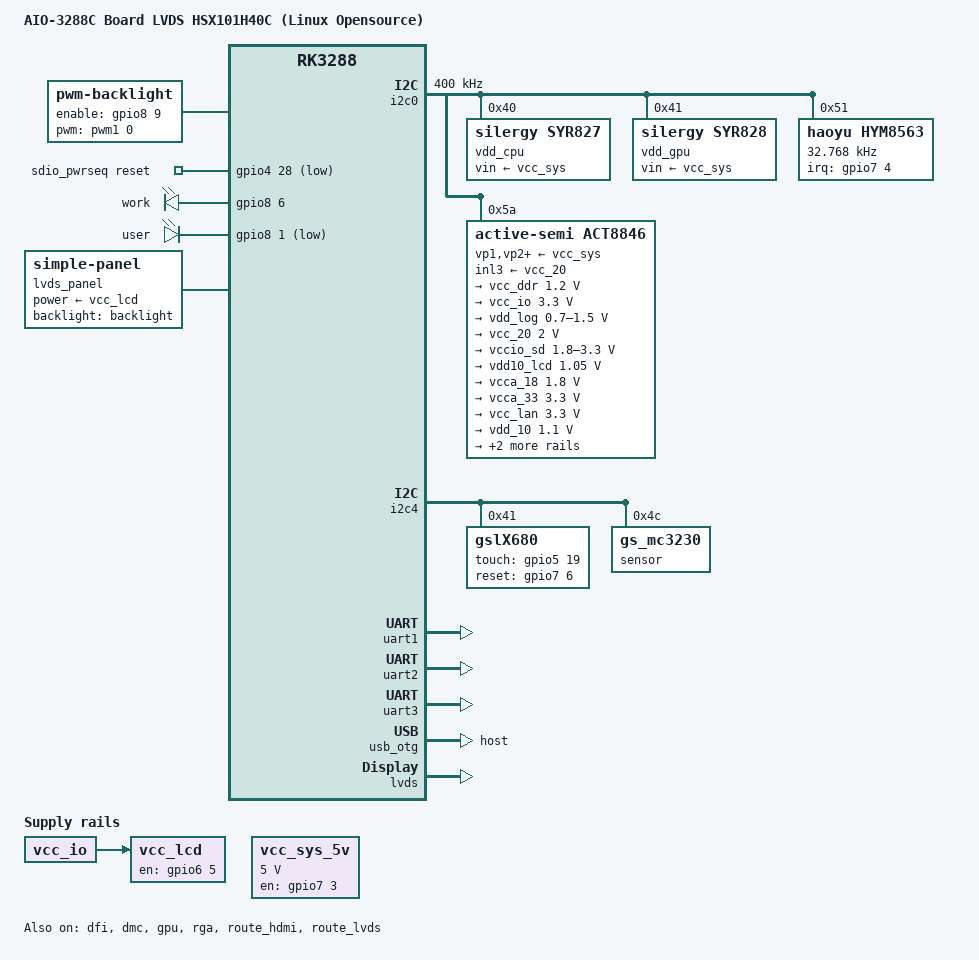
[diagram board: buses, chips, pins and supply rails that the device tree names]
/*
 * Copyright (c) 2015~2017 Fuzhou Rockchip Electronics Co., Ltd
 *
 * This file is dual-licensed: you can use it either under the terms
 * of the GPL or the X11 license, at your option. Note that this dual
 * licensing only applies to this file, and not this project as a
 * whole.
 *
 *  a) This file is free software; you can redistribute it and/or
 *     modify it under the terms of the GNU General Public License as
 *     published by the Free Software Foundation; either version 2 of the
 *     License, or (at your option) any later version.
 *
 *     This file is distributed in the hope that it will be useful,
 *     but WITHOUT ANY WARRANTY; without even the implied warranty of
 *     MERCHANTABILITY or FITNESS FOR A PARTICULAR PURPOSE.  See the
 *     GNU General Public License for more details.
 *
 * Or, alternatively,
 *
 *  b) Permission is hereby granted, free of charge, to any person
 *     obtaining a copy of this software and associated documentation
 *     files (the "Software"), to deal in the Software without
 *     restriction, including without limitation the rights to use,
 *     copy, modify, merge, publish, distribute, sublicense, and/or
 *     sell copies of the Software, and to permit persons to whom the
 *     Software is furnished to do so, subject to the following
 *     conditions:
 *
 *     The above copyright notice and this permission notice shall be
 *     included in all copies or substantial portions of the Software.
 *
 *     THE SOFTWARE IS PROVIDED "AS IS", WITHOUT WARRANTY OF ANY KIND,
 *     EXPRESS OR IMPLIED, INCLUDING BUT NOT LIMITED TO THE WARRANTIES
 *     OF MERCHANTABILITY, FITNESS FOR A PARTICULAR PURPOSE AND
 *     NONINFRINGEMENT. IN NO EVENT SHALL THE AUTHORS OR COPYRIGHT
 *     HOLDERS BE LIABLE FOR ANY CLAIM, DAMAGES OR OTHER LIABILITY,
 *     WHETHER IN AN ACTION OF CONTRACT, TORT OR OTHERWISE, ARISING
 *     FROM, OUT OF OR IN CONNECTION WITH THE SOFTWARE OR THE USE OR
 *     OTHER DEALINGS IN THE SOFTWARE.
 */

/dts-v1/;
#include "rk3288-firefly-port.dtsi"
#include "rk3288-linux.dtsi"
#include <dt-bindings/sensor-dev.h>
#include <dt-bindings/display/media-bus-format.h>

/ {
	model = "AIO-3288C Board LVDS HSX101H40C (Linux Opensource)";
	compatible = "rockchip,rk3288-firefly", "rockchip,rk3288";

	backlight: backlight {
		compatible = "pwm-backlight";
		brightness-levels = </*
			  0   1   2   3   4   5   6   7
			  8   9  10  11  12  13  14  15
			 16  17  18  19  20  21  22  23
			 24  25  26  27  28  29  30  31
			 32  33  34  35*/36  37  38  39
			 40  41  42  43  44  45  46  47
			 48  49  50  51  52  53  54  55
			 56  57  58  59  60  61  62  63
			 64  65  66  67  68  69  70  71
			 72  73  74  75  76  77  78  79
			 80  81  82  83  84  85  86  87
			 88  89  90  91  92  93  94  95
			 96  97  98  99 100 101 102 103
			104 105 106 107 108 109 110 111
			112 113 114 115 116 117 118 119
			120 121 122 123 124 125 126 127
			128 129 130 131 132 133 134 135
			136 137 138 139 140 141 142 143
			144 145 146 147 148 149 150 151
			152 153 154 155 156 157 158 159
			160 161 162 163 164 165 166 167
			168 169 170 171 172 173 174 175
			176 177 178 179 180 181 182 183
			184 185 186 187 188 189 190 191
			192 193 194 195 196 197 198 199
			200 201 202 203 204 205 206 207
			208 209 210 211 212 213 214 215
			216 217 218 219 220 221 222 223
			224 225 226 227 228 229 230 231
			232 233 234 235 236 237 238 239
			240 241 242 243 244 245 246 247
			248 249 250 251 252 253 254 255>;
		default-brightness-level = <200>;
		enable-gpios = <&gpio8 9 GPIO_ACTIVE_HIGH>;
		pinctrl-names = "default";
		pinctrl-0 = <&bl_en>;
		pwms = <&pwm1 0 1000000 1>;
	};

	sdio_pwrseq: sdio-pwrseq {
		compatible = "mmc-pwrseq-simple";
		clocks = <&hym8563>;
		clock-names = "ext_clock";
		pinctrl-names = "default";
		pinctrl-0 = <&wifi_enable_h>;

		/*
		 * On the module itself this is one of these (depending
		 * on the actual card populated):
		 * - SDIO_RESET_L_WL_REG_ON
		 * - PDN (power down when low)
		 */
		reset-gpios = <&gpio4 28 GPIO_ACTIVE_LOW>;
	};

	vcc_sys_5v: vcc-sys-5v{
		compatible = "regulator-fixed";
		enable-active-high;
		gpio = <&gpio7 3 GPIO_ACTIVE_HIGH>;
		pinctrl-names = "default";
		pinctrl-0 = <&pwr5v_en>;
		regulator-name = "vcc_sys_5v";
		regulator-min-microvolt = <5000000>;
		regulator-max-microvolt = <5000000>;
		regulator-always-on;
		regulator-boot-on;
	};

	vcc_lcd: vcc-lcd {
		compatible = "regulator-fixed";
		enable-active-high;
		gpio = <&gpio6 5 GPIO_ACTIVE_HIGH>;
		pinctrl-names = "default";
		pinctrl-0 = <&lcd_en>;
		regulator-name = "vcc_lcd";
		regulator-boot-on;
		vin-supply = <&vcc_io>;
	};

	leds {
		compatible = "gpio-leds";

		work {
			gpios = <&gpio8 6 GPIO_ACTIVE_HIGH>;
			default-state = "on";
		};

		user {
			gpios = <&gpio8 1 GPIO_ACTIVE_LOW>;
			default-state = "off";
		};
	};
};

&cpu0 {
	cpu0-supply = <&vdd_cpu>;
};

&dfi {
	status = "okay";
};

&dmc {
	center-supply = <&vdd_log>;
	status = "okay";
};

&gpu {
	status = "okay";
	mali-supply = <&vdd_gpu>;
};

&i2c0 {
	clock-frequency = <400000>;

	vdd_cpu: syr827@40 {
		compatible = "silergy,syr827";
		fcs,suspend-voltage-selector = <1>;
		reg = <0x40>;
		regulator-name = "vdd_cpu";
		regulator-min-microvolt = <850000>;
		regulator-max-microvolt = <1350000>;
		regulator-always-on;
		regulator-boot-on;
		regulator-enable-ramp-delay = <300>;
		regulator-ramp-delay = <8000>;
		vin-supply = <&vcc_sys>;
		regulator-state-mem {
			regulator-off-in-suspend;
		};
	};

	vdd_gpu: syr828@41 {
		compatible = "silergy,syr828";
		fcs,suspend-voltage-selector = <1>;
		reg = <0x41>;
		regulator-name = "vdd_gpu";
		regulator-min-microvolt = <850000>;
		regulator-max-microvolt = <1350000>;
		regulator-always-on;
		regulator-ramp-delay = <6000>;
		vin-supply = <&vcc_sys>;
		regulator-state-mem {
			regulator-off-in-suspend;
		};
	};

	hym8563: hym8563@51 {
		compatible = "haoyu,hym8563";
		reg = <0x51>;
		interrupt-parent = <&gpio7>;
		interrupts = <4 IRQ_TYPE_EDGE_FALLING>;
		#clock-cells = <0>;
		clock-frequency = <32768>;
		clock-output-names = "xin32k";
		pinctrl-names = "default";
		pinctrl-0 = <&rtc_int>;
	};

	act8846: act8846@5a {
		compatible = "active-semi,act8846";
		reg = <0x5a>;
		pinctrl-names = "default";
		pinctrl-0 = <&pmic_vsel>, <&pwr_hold>;
		system-power-controller;

		vp1-supply = <&vcc_sys>;
		vp2-supply = <&vcc_sys>;
		vp3-supply = <&vcc_sys>;
		vp4-supply = <&vcc_sys>;
		inl1-supply = <&vcc_sys>;
		inl2-supply = <&vcc_sys>;
		inl3-supply = <&vcc_20>;

		regulators {
			vcc_ddr: REG1 {
				regulator-name = "vcc_ddr";
				regulator-min-microvolt = <1200000>;
				regulator-max-microvolt = <1200000>;
				regulator-always-on;
			};

			vcc_io: REG2 {
				regulator-name = "vcc_io";
				regulator-min-microvolt = <3300000>;
				regulator-max-microvolt = <3300000>;
				regulator-always-on;
			};

			vdd_log: REG3 {
				regulator-name = "vdd_log";
				regulator-min-microvolt = <700000>;
				regulator-max-microvolt = <1500000>;
				regulator-always-on;
			};

			vcc_20: REG4 {
				regulator-name = "vcc_20";
				regulator-min-microvolt = <2000000>;
				regulator-max-microvolt = <2000000>;
				regulator-always-on;
			};

			vccio_sd: REG5 {
				regulator-name = "vccio_sd";
				regulator-min-microvolt = <1800000>;
				regulator-max-microvolt = <3300000>;
				regulator-always-on;
			};

			vdd10_lcd: REG6 {
				regulator-name = "vdd10_lcd";
				regulator-min-microvolt = <1050000>;
				regulator-max-microvolt = <1050000>;
				regulator-always-on;
			};

			vcca_18: REG7 {
				regulator-name = "vcca_18";
				regulator-min-microvolt = <1800000>;
				regulator-max-microvolt = <1800000>;
				regulator-always-on;
			};

			vcca_33: REG8 {
				regulator-name = "vcca_33";
				regulator-min-microvolt = <3300000>;
				regulator-max-microvolt = <3300000>;
				regulator-always-on;
			};

			vcc_lan: REG9 {
				regulator-name = "vcc_lan";
				regulator-min-microvolt = <3300000>;
				regulator-max-microvolt = <3300000>;
				regulator-always-on;
				regulator-boot-on;
			};

			vdd_10: REG10 {
				regulator-name = "vdd_10";
				regulator-min-microvolt = <1100000>;
				regulator-max-microvolt = <1100000>;
				regulator-always-on;
			};

			vcc_18: REG11 {
				regulator-name = "vcc_18";
				regulator-min-microvolt = <1800000>;
				regulator-max-microvolt = <1800000>;
				regulator-always-on;
			};

			vcc18_lcd: REG12 {
				regulator-name = "vcc18_lcd";
				regulator-min-microvolt = <1850000>;
				regulator-max-microvolt = <1850000>;
				regulator-always-on;
			};
		};
	};
};

&i2c4 {
	status = "okay";

	gslx680: gslx680@41 {
		compatible = "gslX680";
		reg = <0x41>;
		screen_max_x = <800>;
		screen_max_y = <1280>;
		touch-gpio = <&gpio5 19 IRQ_TYPE_LEVEL_LOW>;
		reset-gpio = <&gpio7 6 GPIO_ACTIVE_HIGH>;
		gsl,fw = <1>;
		flip-x = <1>;
		flip-y = <0>;
		swap-xy = <0>;
	};

	sensor@4c {
		compatible = "gs_mc3230";
		reg = <0x4c>;
		type = <SENSOR_TYPE_ACCEL>;
		irq_enable = <0>;
		poll_delay_ms = <30>;
		layout = <1>;
	};
};

&rga {
	status = "okay";
};

&sound {
	status = "okay";
};

&route_hdmi {
	status = "okay";
};

&route_lvds {
	status = "okay";
};

&es8323 {
	spk-ctl-gpio = <&gpio7 2 GPIO_ACTIVE_HIGH>;
};

&uart1 {
	status = "okay";
};

&uart2 {
	status = "okay";
};

&uart3 {
	status = "okay";
};

&usb_otg {
	status = "okay";
	dr_mode = "host";
};

&hdmi_in_vopl {
	status = "disabled";
};

&lvds_in_vopb {
	status = "disabled";
};

&lvds {
	status = "okay";
};

&lvds_panel {
	status = "okay";
	compatible ="simple-panel";
	power-supply = <&vcc_lcd>;
	backlight = <&backlight>;
	bus-format = <MEDIA_BUS_FMT_RGB666_1X18>;
	enable-delay-ms = <10>;
	rockchip,data-mapping = "vesa";
	rockchip,data-width = <24>;
	rockchip,output = "lvds";

	display-timings {
		native-mode = <&timing0>;
		timing0: timing0 {
			clock-frequency = <65000000>;
			hactive = <800>;
			vactive = <1280>;
			hback-porch = <8>;
			hfront-porch = <32>;
			vback-porch = <11>;
			vfront-porch = <17>;
			hsync-len = <8>;
			vsync-len = <4>;
			hsync-active = <0>;
			vsync-active = <0>;
			de-active = <0>;
			pixelclk-active = <0>;
		};
	};
};

&pinctrl {
	act8846 {
		pmic_vsel: pmic-vsel {
			rockchip,pins = <7 14 RK_FUNC_GPIO &pcfg_output_low>;
		};

		pwr_hold: pwr-hold {
			rockchip,pins = <0 6 RK_FUNC_GPIO &pcfg_output_high>;
		};
	};

	backlight {
		bl_en: bl-en {
			rockchip,pins = <8 9 RK_FUNC_GPIO &pcfg_pull_none>;
		};
	};

	lcd {
		lcd_en: lcd-en  {
			rockchip,pins = <6 5 RK_FUNC_GPIO &pcfg_pull_none>;
		};
	};

	vcc-sys {
		pwr5v_en: pwr5v-en {
			rockchip,pins = <7 3 RK_FUNC_GPIO &pcfg_output_high>;
		};
	};
};
